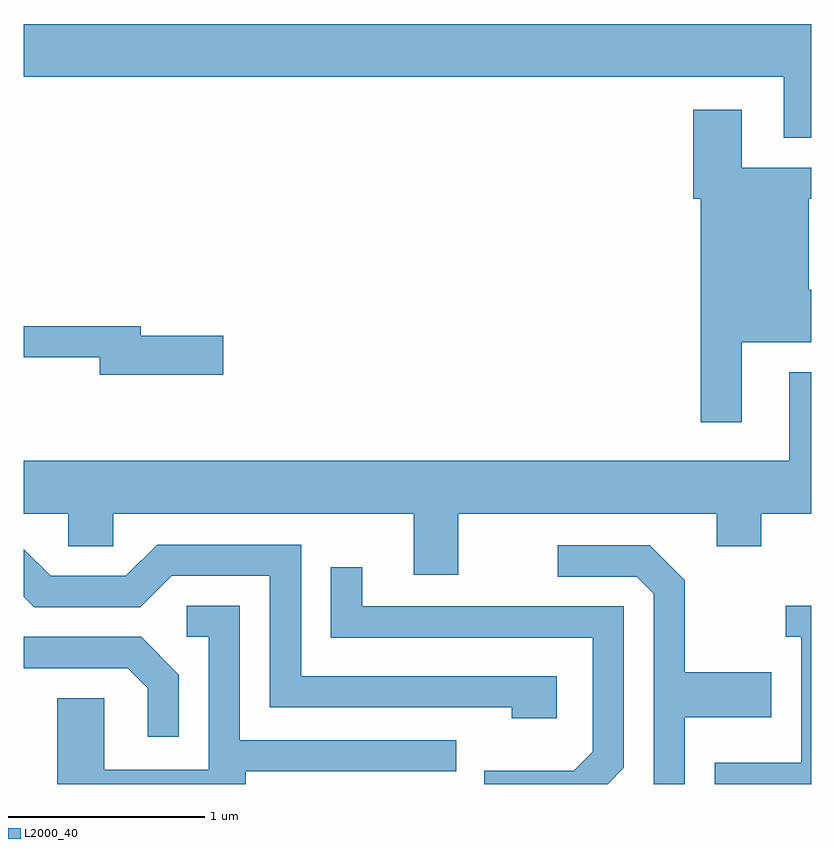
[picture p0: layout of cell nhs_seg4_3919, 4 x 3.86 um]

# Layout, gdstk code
import gdstk
lib = gdstk.Library(unit=1e-6, precision=1e-09)
def P(c, l, *ps):  # polygons
    for p in ps: c.add(gdstk.Polygon(p, *l))
L2000_40 = (2000, 40)

nhs_seg4_3919 = lib.new_cell('nhs_seg4_3919')
P(nhs_seg4_3919, L2000_40, [(303.611,1343.844),(299.611,1343.844),(299.611,1343.576),(303.471,1343.576),(303.471,1343.266),(303.611,1343.266)],
  [(303.259,1342.226),(303.611,1342.226),(303.611,1342.494),(303.599,1342.494),(303.599,1342.956),(303.611,1342.956),(303.611,1343.114),(303.259,1343.114),(303.259,1343.409),(303.011,1343.409),(303.011,1342.956),(303.051,1342.956),(303.051,1341.821),(303.259,1341.821)],
  [(300.624,1342.259),(300.204,1342.259),(300.204,1342.309),(299.611,1342.309),(299.611,1342.151),(299.996,1342.151),(299.996,1342.061),(300.624,1342.061)],
  [(301.819,1341.356),(303.131,1341.356),(303.131,1341.191),(303.359,1341.191),(303.359,1341.356),(303.611,1341.356),(303.611,1342.074),(303.501,1342.074),(303.501,1341.624),(299.611,1341.624),(299.611,1341.356),(299.836,1341.356),(299.836,1341.191),(300.064,1341.191),(300.064,1341.356),(301.591,1341.356),(301.591,1341.046),(301.819,1341.046)],
  [(302.319,1340.529),(301.019,1340.529),(301.019,1341.199),(300.289,1341.199),(300.129,1341.039),(299.747,1341.039),(299.611,1341.175),(299.611,1340.934),(299.664,1340.881),(300.202,1340.881),(300.362,1341.041),(300.861,1341.041),(300.861,1340.371),(302.091,1340.371),(302.091,1340.316),(302.319,1340.316)],
  [(302.969,1340.321),(303.409,1340.321),(303.409,1340.549),(302.969,1340.549),(302.969,1341.017),(302.792,1341.194),(302.323,1341.194),(302.323,1341.036),(302.724,1341.036),(302.811,1340.949),(302.811,1339.982),(302.969,1339.982)],
  [(302.659,1340.064),(302.659,1340.884),(301.329,1340.884),(301.329,1341.083),(301.171,1341.083),(301.171,1340.726),(302.501,1340.726),(302.501,1340.147),(302.404,1340.049),(301.951,1340.049),(301.951,1339.982),(302.577,1339.982)],
  [(300.739,1340.046),(301.808,1340.046),(301.808,1340.204),(300.709,1340.204),(300.709,1340.889),(300.438,1340.889),(300.438,1340.731),(300.551,1340.731),(300.551,1340.054),(300.019,1340.054),(300.019,1340.419),(299.781,1340.419),(299.781,1339.982),(300.739,1339.982)],
  [(303.611,1340.889),(303.483,1340.889),(303.483,1340.731),(303.561,1340.731),(303.561,1340.089),(303.121,1340.089),(303.121,1339.982),(303.611,1339.982)],
  [(300.399,1340.537),(300.207,1340.729),(299.611,1340.729),(299.611,1340.571),(300.139,1340.571),(300.241,1340.469),(300.241,1340.223),(300.399,1340.223)])

lib.write_gds('nhs_seg4_3919.gds')
